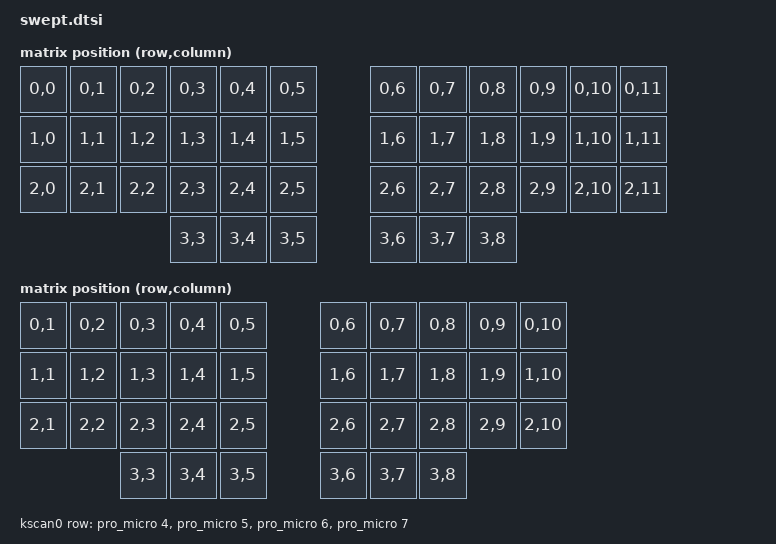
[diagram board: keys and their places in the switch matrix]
/*
 * Copyright (c) 2020 The ZMK Contributors
 *
 * SPDX-License-Identifier: MIT
 */

#include <dt-bindings/zmk/matrix_transform.h>

/ {

	chosen {
		zmk,kscan = &kscan0;
		zmk,matrix_transform = &default_transform;
	};

	default_transform: keymap_transform_0 {
		compatible = "zmk,matrix-transform";
		columns = <12>;
		rows = <4>;
// | SW1  | SW2  | SW3  | SW4  | SW5  | SW6  |   | SW6  | SW5  | SW4  | SW3  | SW2  | SW1  |
// | SW7  | SW8  | SW9  | SW10 | SW11 | SW12 |   | SW12 | SW11 | SW10 | SW9  | SW8  | SW7  |
// | SW13 | SW14 | SW15 | SW16 | SW17 | SW18 |   | SW18 | SW17 | SW16 | SW15 | SW14 | SW13 |
//                      | SW19 | SW20 | SW21 |   | SW21 | SW20 | SW19 |
		map = <
RC(0,0) RC(0,1) RC(0,2) RC(0,3) RC(0,4) RC(0,5)  RC(0,6) RC(0,7) RC(0,8) RC(0,9) RC(0,10) RC(0,11)
RC(1,0) RC(1,1) RC(1,2) RC(1,3) RC(1,4) RC(1,5)  RC(1,6) RC(1,7) RC(1,8) RC(1,9) RC(1,10) RC(1,11)
RC(2,0) RC(2,1) RC(2,2) RC(2,3) RC(2,4) RC(2,5)  RC(2,6) RC(2,7) RC(2,8) RC(2,9) RC(2,10) RC(2,11)
                        RC(3,3) RC(3,4) RC(3,5)  RC(3,6) RC(3,7) RC(3,8)
		>;
	};

	five_column_transform: keymap_transform_1 {
		compatible = "zmk,matrix-transform";
		columns = <10>;
		rows = <4>;
// | SW2  | SW3  | SW4  | SW5  | SW6  |   | SW6  | SW5  | SW4  | SW3  | SW2  |
// | SW8  | SW9  | SW10 | SW11 | SW12 |   | SW12 | SW11 | SW10 | SW9  | SW8  |
// | SW14 | SW15 | SW16 | SW17 | SW18 |   | SW18 | SW17 | SW16 | SW15 | SW14 |
//                      | SW19 | SW20 | SW21 |   | SW21 | SW20 | SW19 |
		map = <
RC(0,1) RC(0,2) RC(0,3) RC(0,4) RC(0,5)  RC(0,6) RC(0,7) RC(0,8) RC(0,9) RC(0,10)
RC(1,1) RC(1,2) RC(1,3) RC(1,4) RC(1,5)  RC(1,6) RC(1,7) RC(1,8) RC(1,9) RC(1,10)
RC(2,1) RC(2,2) RC(2,3) RC(2,4) RC(2,5)  RC(2,6) RC(2,7) RC(2,8) RC(2,9) RC(2,10)
                        RC(3,3) RC(3,4) RC(3,5)  RC(3,6) RC(3,7) RC(3,8)
		>;
	};

	kscan0: kscan {
		compatible = "zmk,kscan-gpio-matrix";
		label = "KSCAN";

		diode-direction = "col2row";
		row-gpios
			= <&pro_micro 4 (GPIO_ACTIVE_HIGH | GPIO_PULL_DOWN)>
			, <&pro_micro 5 (GPIO_ACTIVE_HIGH | GPIO_PULL_DOWN)>
			, <&pro_micro 6 (GPIO_ACTIVE_HIGH | GPIO_PULL_DOWN)>
			, <&pro_micro 7 (GPIO_ACTIVE_HIGH | GPIO_PULL_DOWN)>
			;
		
	};

	tps43_input: tps43_input {
        compatible = "zmk,input-listener";
        status = "disabled";
        device = <&tps43>;
    };

};

&pro_micro_i2c {
    status = "okay";
    tps43: iqs5xx@74 {
        status = "okay";
        compatible = "azoteq,iqs5xx";
        reg = <0x74>;

        reset-gpios = <&pro_micro 0 GPIO_ACTIVE_LOW>;
        rdy-gpios = <&pro_micro 1 GPIO_ACTIVE_HIGH>;

        /*
         * Potentially non-exhaustive list of configuration options.
         * See: dts/bindings/input/azoteq,iqs5xx-common.yaml for a full list.
         */
        one-finger-tap;
        press-and-hold;
        press-and-hold-time = <250>;
        two-finger-tap;

        scroll;
        natural-scroll-y;
        natural-scroll-x;

        bottom-beta = <5>;
        stationary-threshold = <5>;

        switch-xy;
    };
};

/ {
    split_inputs {
        #address-cells = <1>;
        #size-cells = <0>;

        tps43_split: tps43_split@74 {
            compatible = "zmk,input-split";
            reg = <0>;
        };
    };
};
